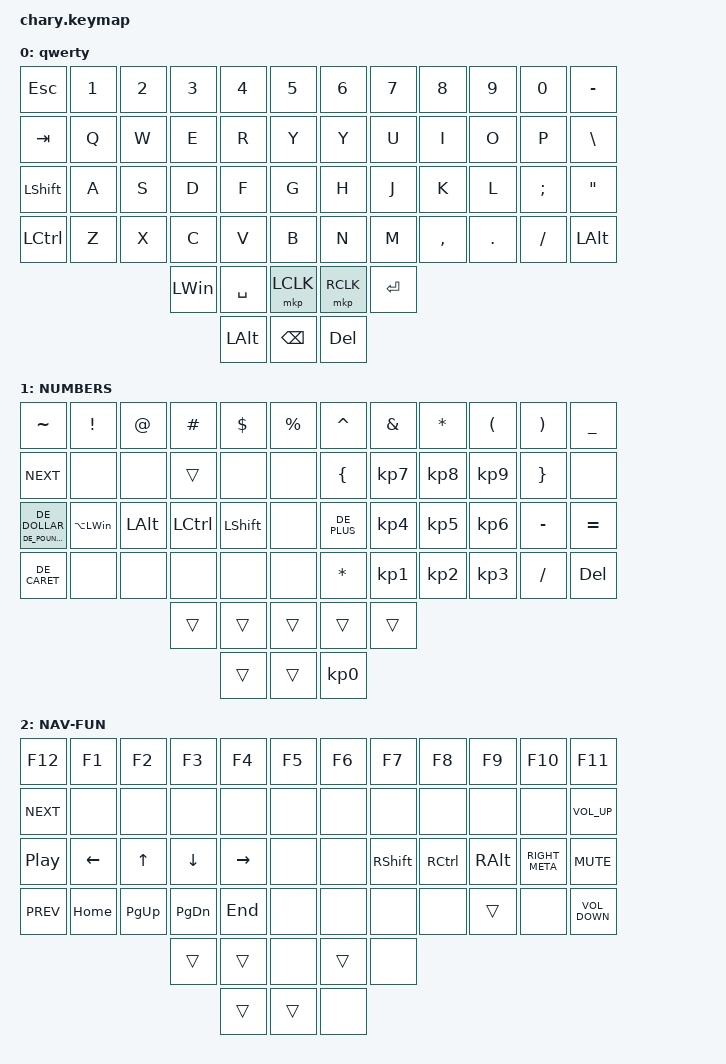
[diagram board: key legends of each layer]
#include "keys_de_swiss.h"
#include <behaviors.dtsi>
#include <dt-bindings/zmk/bt.h>
#include <dt-bindings/zmk/keys.h>
#include <dt-bindings/zmk/outputs.h>
#include <dt-bindings/zmk/mouse.h>

#define DEFAULT 0
#define NUMBER  1
#define SYMBOL  2
#define HOTKEY  3

#define AS(keycode) &as LS(keycode) keycode

/ {
    /* input config for mouse move mode */

    trackball_listener {
        compatible = "zmk,input-behavior-listener";
        device = <&vtrackball>;
        layers = <0 3 6>;
        evt-type = <INPUT_EV_REL>;
        x-input-code = <INPUT_REL_X>;
        y-input-code = <INPUT_REL_Y>;
        scale-multiplier = <1>;
        scale-divisor = <2>;

        // bindings = <&ib_toggle_layer 7>;
    };

    /* input config for snipe mode */

    trackball_snipe_listener {
        compatible = "zmk,input-behavior-listener";
        device = <&vtrackball>;
        layers = <10>;
        evt-type = <INPUT_EV_REL>;
        x-input-code = <INPUT_REL_X>;
        y-input-code = <INPUT_REL_Y>;
        scale-multiplier = <1>;
        scale-divisor = <4>;
    };

    /* input config for mouse scroll mode */

    trackball_scroll_listener {
        compatible = "zmk,input-behavior-listener";
        device = <&vtrackball>;
        layers = <9>;
        evt-type = <INPUT_EV_REL>;
        x-input-code = <INPUT_REL_MISC>;
        y-input-code = <INPUT_REL_WHEEL>;
        y-invert;
        bindings = <&ib_wheel_scaler 1 14>;
    };

    /* define a resolution down scaler only for INPUT_REL_WHEEL */

    ib_wheel_scaler: ib_wheel_scaler {
        compatible = "zmk,input-behavior-scaler";
        #binding-cells = <2>;
        evt-type = <INPUT_EV_REL>;
        input-code = <INPUT_REL_WHEEL>;
    };

    /* adjust cooldown waiting period for mouse key layer after activated */

    ib_toggle_layer: ib_toggle_layer {
        compatible = "zmk,input-behavior-tog-layer";
        #binding-cells = <1>;
        time-to-live-ms = <750>;
    };

    // #define QUERTZ    0
    // #define NUMBERS   1
    // #define NAV-FUN   2
    // #define MAC       3
    // #define MAC-NUM   4
    // #define MAC-NAV   5
    // #define GAME      6
    // #define GAME-NUM  7
    // #define GAME-NAV  8
    // #define SCROLL    9
    // #define SNIPER   10
    // #define FN       11

    combos {
        compatible = "zmk,combos";

        mclc {
            bindings = <&mkp MB3>;
            key-positions = <50 51>;
        };

        to_0 {
            bindings = <&mo 0>;
            key-positions = <50 31>;
        };

        to_1 {
            bindings = <&mo 1>;
            key-positions = <50 32>;
        };

        to_2 {
            bindings = <&mo 2>;
            key-positions = <50 33>;
        };
    };


    keymap {
        compatible = "zmk,keymap";

        Letters {
            bindings = <
&kp ESCAPE      &kp N1  &kp N2  &kp N3        &kp N4        &kp N5           &kp N6      &kp N7     &kp N8     &kp N9   &kp N0    &kp MINUS
&kp TAB         &kp Q   &kp W   &kp E         &kp R         &kp Y            &kp Y       &kp U      &kp I      &kp O    &kp P     &kp BSLH
&kp LEFT_SHIFT  &kp A   &kp S   &kp D         &kp F         &kp G            &kp H       &kp J      &kp K      &kp L    &kp SEMI  &kp DOUBLE_QUOTES
&kp LCTRL       &kp Z   &kp X   &kp C         &kp V         &kp B            &kp N       &kp M      &kp COMMA  &kp DOT  &kp FSLH  &kp LEFT_ALT
                                &kp LEFT_WIN  &kp SPACE     &mkp LCLK        &mkp RCLK   &kp ENTER
                                              &kp LEFT_ALT  &kp BACKSPACE    &kp DELETE
            >;

            label = "qwerty";
        };

        Numbers {
            bindings = <
&kp TILDE                     &kp EXCL          &kp AT        &kp POUND  &kp DLLR        &kp PRCNT    &kp CARET        &kp AMPS         &kp ASTRK        &kp LPAR         &kp RPAR   &kp UNDER
&kp C_NEXT                    &none             &none         &trans     &none           &none        &kp LBRC         &kp KP_NUMBER_7  &kp KP_NUMBER_8  &kp KP_NUMBER_9  &kp RBRC   &none
&hml DE_POUND_SIGN DE_DOLLAR  &kp LA(LEFT_WIN)  &kp LEFT_ALT  &kp LCTRL  &kp LEFT_SHIFT  &none        &kp DE_PLUS      &kp KP_NUMBER_4  &kp KP_NUMBER_5  &kp KP_NUMBER_6  &kp MINUS  &kp EQUAL
&kp DE_CARET                  &none             &none         &none      &none           &none        &kp ASTRK        &kp KP_NUMBER_1  &kp KP_NUMBER_2  &kp KP_NUMBER_3  &kp FSLH   &kp DEL
                                                              &trans     &trans          &trans       &trans           &trans
                                                                         &trans          &trans       &kp KP_NUMBER_0
            >;

            label = "NUMBERS";
        };

        win_lower_layer {
            bindings = <
&kp F12           &kp F1          &kp F2       &kp F3         &kp F4     &kp F5    &kp F6  &kp F7     &kp F8     &kp F9    &kp F10         &kp F11
&kp C_NEXT        &none           &none        &none          &none      &none     &none   &none      &none      &none     &none           &kp C_VOLUME_UP
&kp C_PLAY_PAUSE  &kp LEFT_ARROW  &kp UP       &kp DOWN       &kp RIGHT  &none     &none   &kp RSHFT  &kp RCTRL  &kp RALT  &kp RIGHT_META  &kp K_MUTE
&kp C_PREV        &kp HOME        &kp PAGE_UP  &kp PAGE_DOWN  &kp END    &none     &none   &none      &none      &trans    &none           &kp C_VOLUME_DOWN
                                               &trans         &trans     &none     &trans  &none
                                                              &trans     &trans    &none
            >;

            label = "NAV-FUN";
        };
    };
};
